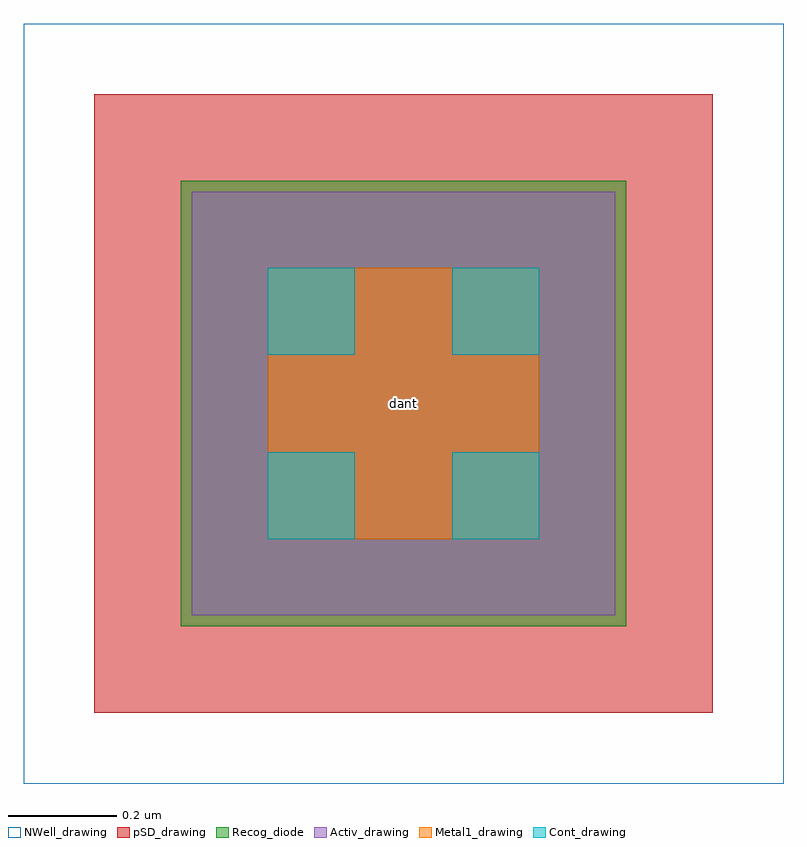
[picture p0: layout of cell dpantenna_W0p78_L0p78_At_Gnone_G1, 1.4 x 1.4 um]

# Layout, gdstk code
import gdstk
lib = gdstk.Library(unit=1e-6, precision=1e-09)
def R(c, l, rs):  # rectangles x0, y0, x1, y1
    for r in rs: c.add(gdstk.rectangle(r[:2], r[2:], *l))
Activ_drawing = (1, 0)
Cont_drawing = (6, 0)
Metal1_drawing = (8, 0)
pSD_drawing = (14, 0)
NWell_drawing = (31, 0)
Recog_diode = (99, 31)

rectangle_gdsfactorypcom = lib.new_cell('rectangle_gdsfactorypcomponentspshapesprectangle_S0p16__bf15bdcd')
R(rectangle_gdsfactorypcom, Cont_drawing, [(0,0,0.16,0.16)])

c_rectangle_gdsfactorypcom = lib.new_cell('rectangle_gdsfactorypcomponentspshapesprectangle_S0p5_0_8d802f7b')
R(c_rectangle_gdsfactorypcom, Metal1_drawing, [(0,0,0.5,0.5)])

c_rectangle_gdsfactorypcom_ = lib.new_cell('rectangle_gdsfactorypcomponentspshapesprectangle_S0p78__e1389ba8')
R(c_rectangle_gdsfactorypcom_, Activ_drawing, [(0,0,0.78,0.78)])

c_rectangle_gdsfactorypcom__ = lib.new_cell('rectangle_gdsfactorypcomponentspshapesprectangle_S1p140_be280594')
R(c_rectangle_gdsfactorypcom__, pSD_drawing, [(0,0,1.14,1.14)])

c_rectangle_gdsfactorypcom___ = lib.new_cell('rectangle_gdsfactorypcomponentspshapesprectangle_S0p820_b02aaaed')
R(c_rectangle_gdsfactorypcom___, Recog_diode, [(0,0,0.82,0.82)])

c_rectangle_gdsfactorypcom____ = lib.new_cell('rectangle_gdsfactorypcomponentspshapesprectangle_S1p4_1_612309da')
R(c_rectangle_gdsfactorypcom____, NWell_drawing, [(0,0,1.4,1.4)])

dpantenna_w0p78_l0p78_at = lib.new_cell('dpantenna_W0p78_L0p78_At_Gnone_G1')
dpantenna_w0p78_l0p78_at.add(gdstk.Reference(rectangle_gdsfactorypcom, (0.14,0.14)))
dpantenna_w0p78_l0p78_at.add(gdstk.Reference(rectangle_gdsfactorypcom, (0.48,0.14)))
dpantenna_w0p78_l0p78_at.add(gdstk.Reference(rectangle_gdsfactorypcom, (0.14,0.48)))
dpantenna_w0p78_l0p78_at.add(gdstk.Reference(rectangle_gdsfactorypcom, (0.48,0.48)))
dpantenna_w0p78_l0p78_at.add(gdstk.Reference(c_rectangle_gdsfactorypcom, (0.14,0.14)))
dpantenna_w0p78_l0p78_at.add(gdstk.Reference(c_rectangle_gdsfactorypcom_, (0,0)))
dpantenna_w0p78_l0p78_at.add(gdstk.Reference(c_rectangle_gdsfactorypcom__, (-0.18,-0.18)))
dpantenna_w0p78_l0p78_at.add(gdstk.Reference(c_rectangle_gdsfactorypcom___, (-0.02,-0.02)))
dpantenna_w0p78_l0p78_at.add(gdstk.Reference(c_rectangle_gdsfactorypcom____, (-0.31,-0.31)))
dpantenna_w0p78_l0p78_at.add(gdstk.Label('dant', (0.39,0.39), layer=63, texttype=0))

lib.write_gds('dpantenna_W0p78_L0p78_At_Gnone_G1.gds')
